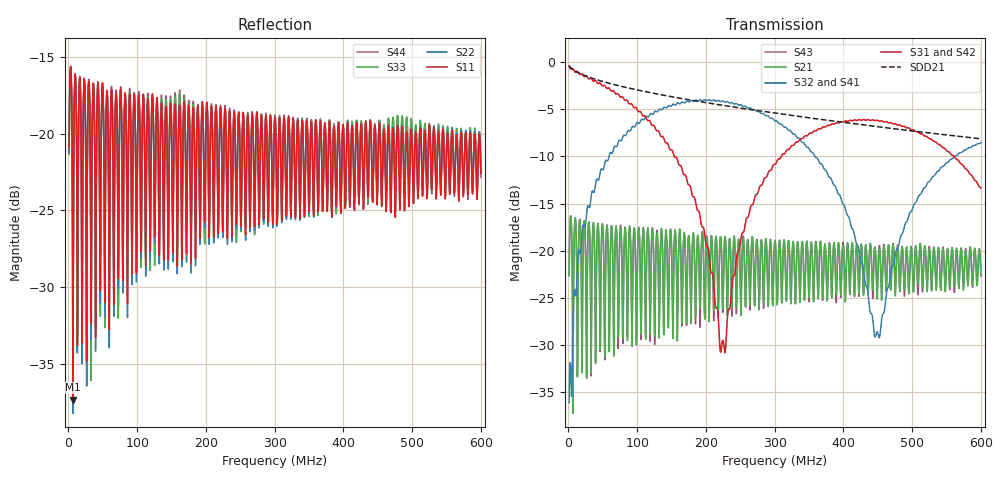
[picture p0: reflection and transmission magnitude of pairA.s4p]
! labauto 0.1.0 job C1000T1A-L24071-00418__sparam-1000base-t1-pair__20260918T093714
! sample C1000T1A-L24071-0041
! procedure sparam-1000base-t1-pair v1.2 76dd721489cb
! calibration CAL-20260916-SOLT4
! trust trusted
! labauto-sim,VNA4-8500,SIM0001,A.01.20
! ports [1, 2, 3, 4]
! IFBW 1000 Hz, 1 avg, 0 dBm
# Hz S RI R 50
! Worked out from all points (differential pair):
!   1200 points, 1 MHz to 600 MHz, reference 50 ohm
!   strongest paths, dB at 1 MHz, 150.9 MHz, 300.7 MHz, 450.6 MHz, 600 MHz:
!     S31: -0.4, -9.4, -10.8, -6.2, -13.4
!     S42: -0.4, -9.3, -10.8, -6.2, -13.4
!     S32: -36.1, -4.6, -6.2, -28.9, -8.6
!     S41: -36.1, -4.5, -6.3, -28.9, -8.6
!     S21: -22.6, -23.3, -18.9, -21.8, -22.6
!     S43: -22.6, -23.0, -19.0, -21.4, -22.7
!   taken as a pair (ports 1,2 in; 3,4 out), SDD21 dB: -0.4, -3.7, -5.4, -6.9, -8.1
!   lowest |S11| = -37.3 dB at 6.495 MHz (marker M1), VSWR 1.03, Z = 51 - j0.971 ohm
!   |S11| at or under -10 dB: start of sweep to end of sweep
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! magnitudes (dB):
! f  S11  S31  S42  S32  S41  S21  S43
! 1 MHz  -21.0  -0.4  -0.4  -36.1  -36.1  -22.6  -22.6
! 6.495 MHz  -37.3  -0.7  -0.7  -27.7  -27.7  -37.2  -37.2
! 61.45 MHz  -18.6  -3.0  -3.0  -9.6  -9.6  -18.7  -18.8
! 223.8 MHz  -24.3  -29.6  -29.6  -4.1  -4.1  -24.3  -24.6
! 292.8 MHz  -19.7  -11.5  -11.5  -5.9  -5.9  -19.9  -19.7
! 449.1 MHz  -24.6  -6.2  -6.2  -28.6  -28.6  -25.1  -24.2
! 600 MHz  -22.6  -13.4  -13.4  -8.6  -8.6  -22.6  -22.7
